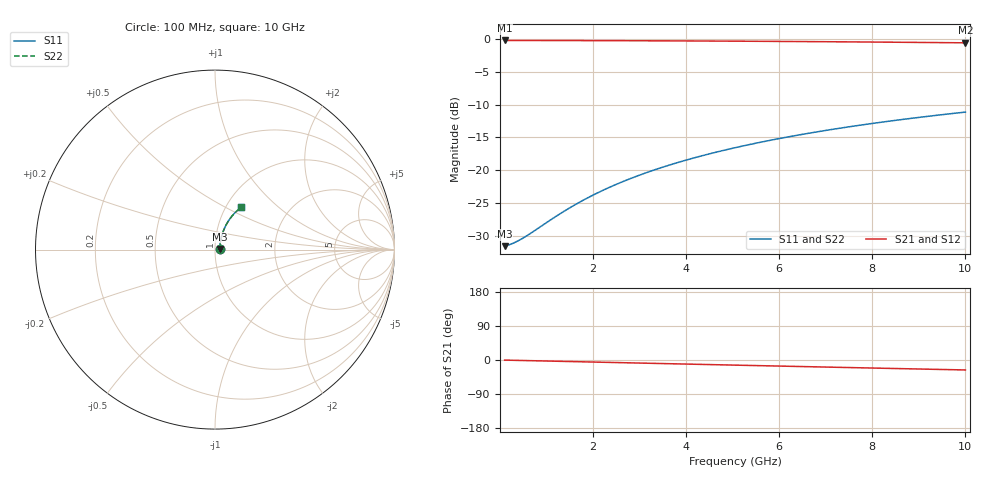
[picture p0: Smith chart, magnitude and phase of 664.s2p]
# Hz S RI R 50.00
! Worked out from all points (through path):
!   100 points, 100 MHz to 10 GHz, reference 50 ohm
!   highest |S21| = -0.23 dB at 100 MHz (marker M1); lowest = -0.6 dB at 10 GHz (marker M2)
!   group delay of S21, straight-line fit = 7.31 ps
!   lowest |S11| = -31.6 dB at 100 MHz (marker M3), VSWR 1.05, Z = 52.7 + j0.297 ohm
!   |S11| at or under -10 dB: start of sweep to end of sweep
!   |S22| runs from -31.6 to -11.1 dB; largest |S21 - S12| = 0
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1e8  0.0262 0.00281  0.9738 -0.00459  0.9738 -0.00459  0.0262 0.00281
2e8  0.0264 0.00563  0.9736 -0.00917  0.9736 -0.00917  0.0264 0.00563
3e8  0.0266 0.00843  0.9734 -0.0137  0.9734 -0.0137  0.0266 0.00843
5e8  0.027 0.014  0.9729 -0.0229  0.9729 -0.0229  0.027 0.014
7e8  0.0275 0.0196  0.9724 -0.032  0.9724 -0.032  0.0275 0.0196
1.3e9  0.0294 0.0364  0.9704 -0.0594  0.9704 -0.0594  0.0294 0.0364
1.5e9  0.0302 0.0419  0.9694 -0.0685  0.9694 -0.0685  0.0302 0.0419
1.8e9  0.0316 0.0502  0.9679 -0.0821  0.9679 -0.0821  0.0316 0.0502
2.1e9  0.0332 0.0585  0.966 -0.0957  0.966 -0.0957  0.0332 0.0585
2.5e9  0.0357 0.0693  0.9632 -0.1136  0.9632 -0.1136  0.0357 0.0693
2.9e9  0.0387 0.0801  0.96 -0.1315  0.96 -0.1315  0.0387 0.0801
3.4e9  0.0428 0.0934  0.9553 -0.1536  0.9553 -0.1536  0.0428 0.0934
3.8e9  0.0466 0.1038  0.951 -0.1712  0.951 -0.1712  0.0466 0.1038
4.2e9  0.0508 0.1141  0.9463 -0.1886  0.9463 -0.1886  0.0508 0.1141
4.6e9  0.0553 0.1242  0.9413 -0.2057  0.9413 -0.2057  0.0553 0.1242
5.1e9  0.0614 0.1365  0.9343 -0.2269  0.9343 -0.2269  0.0614 0.1365
5.9e9  0.0724 0.1554  0.922 -0.2602  0.922 -0.2602  0.0724 0.1554
6.7e9  0.0846 0.1734  0.9081 -0.2924  0.9081 -0.2924  0.0846 0.1734
7.5e9  0.0979 0.1903  0.8929 -0.3236  0.8929 -0.3236  0.0979 0.1903
8.4e9  0.1142 0.2079  0.8743 -0.3573  0.8743 -0.3573  0.1142 0.2079
9.2e9  0.1297 0.2223  0.8565 -0.3861  0.8565 -0.3861  0.1297 0.2223
1e10  0.146 0.2354  0.8377 -0.4135  0.8377 -0.4135  0.146 0.2354
